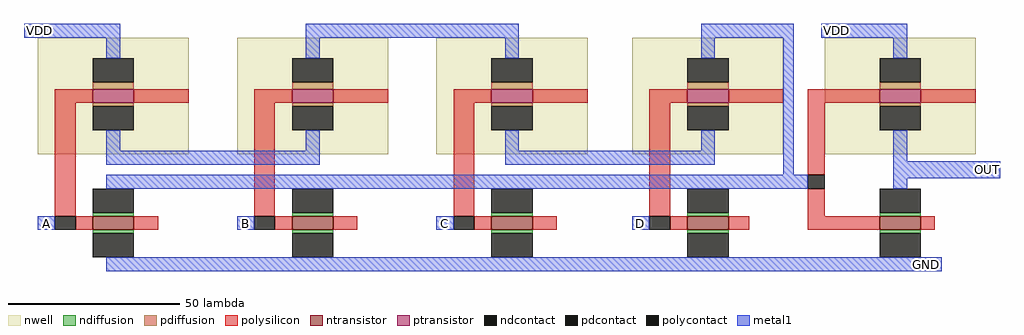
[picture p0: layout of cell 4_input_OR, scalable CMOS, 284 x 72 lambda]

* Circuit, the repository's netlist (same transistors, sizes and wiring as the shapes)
* SPICE3 file created from 4_input_OR.ext - technology: scmos

.option scale=0.09u

M1000 a_14_n20# a_3_n24# a_14_n32# Gnd nfet w=12 l=4
+  ad=384 pd=160 as=480 ps=200
M1001 a_243_n20# a_14_n20# a_14_n32# Gnd nfet w=12 l=4
+  ad=96 pd=40 as=0 ps=0
M1002 a_14_n20# a_176_n24# a_14_n32# Gnd nfet w=12 l=4
+  ad=0 pd=0 as=0 ps=0
M1003 a_14_n20# a_119_n24# a_14_n32# Gnd nfet w=12 l=4
+  ad=0 pd=0 as=0 ps=0
M1004 a_14_17# a_3_n24# a_14_5# w_n2_n2# pfet w=12 l=4
+  ad=216 pd=84 as=192 ps=80
M1005 a_72_17# a_61_n24# a_14_5# w_56_n2# pfet w=12 l=4
+  ad=216 pd=84 as=0 ps=0
M1006 a_14_n20# a_176_n24# a_130_5# w_171_n2# pfet w=12 l=4
+  ad=108 pd=42 as=192 ps=80
M1007 a_14_17# a_14_n20# a_243_n20# w_227_n2# pfet w=12 l=4
+  ad=0 pd=0 as=96 ps=40
M1008 a_14_n20# a_61_n24# a_14_n32# Gnd nfet w=12 l=4
+  ad=0 pd=0 as=0 ps=0
M1009 a_72_17# a_119_n24# a_130_5# w_114_n2# pfet w=12 l=4
+  ad=0 pd=0 as=0 ps=0

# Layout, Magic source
magic
tech scmos
<< nwell >>
rect -2 -2 42 32
rect 56 -2 100 32
rect 114 -2 158 32
rect 171 -2 215 32
rect 227 -2 271 32
<< ntransistor >>
rect 14 -24 26 -20
rect 72 -24 84 -20
rect 130 -24 142 -20
rect 187 -24 199 -20
rect 243 -24 255 -20
<< ptransistor >>
rect 14 13 26 17
rect 72 13 84 17
rect 130 13 142 17
rect 187 13 199 17
rect 243 13 255 17
<< ndiffusion >>
rect 14 -20 26 -19
rect 72 -20 84 -19
rect 130 -20 142 -19
rect 187 -20 199 -19
rect 243 -20 255 -19
rect 14 -25 26 -24
rect 72 -25 84 -24
rect 130 -25 142 -24
rect 187 -25 199 -24
rect 243 -25 255 -24
<< pdiffusion >>
rect 14 17 26 19
rect 72 17 84 19
rect 130 17 142 19
rect 187 17 199 19
rect 243 17 255 19
rect 14 12 26 13
rect 72 12 84 13
rect 130 12 142 13
rect 187 12 199 13
rect 243 12 255 13
<< ndcontact >>
rect 14 -19 26 -12
rect 72 -19 84 -12
rect 130 -19 142 -12
rect 187 -19 199 -12
rect 243 -19 255 -12
rect 14 -32 26 -25
rect 72 -32 84 -25
rect 130 -32 142 -25
rect 187 -32 199 -25
rect 243 -32 255 -25
<< pdcontact >>
rect 14 19 26 26
rect 72 19 84 26
rect 130 19 142 26
rect 187 19 199 26
rect 243 19 255 26
rect 14 5 26 12
rect 72 5 84 12
rect 130 5 142 12
rect 187 5 199 12
rect 243 5 255 12
<< polysilicon >>
rect 3 13 14 17
rect 26 13 42 17
rect 61 13 72 17
rect 84 13 100 17
rect 119 13 130 17
rect 142 13 158 17
rect 176 13 187 17
rect 199 13 215 17
rect 222 13 243 17
rect 255 13 271 17
rect 3 -20 9 13
rect 61 -20 67 13
rect 119 -20 125 13
rect 176 -20 182 13
rect 222 -8 227 13
rect 222 -20 227 -12
rect 9 -24 14 -20
rect 26 -24 33 -20
rect 67 -24 72 -20
rect 84 -24 91 -20
rect 125 -24 130 -20
rect 142 -24 149 -20
rect 182 -24 187 -20
rect 199 -24 205 -20
rect 222 -24 243 -20
rect 255 -24 259 -20
<< polycontact >>
rect 222 -12 227 -8
rect 3 -24 9 -20
rect 61 -24 67 -20
rect 119 -24 125 -20
rect 176 -24 182 -20
<< metal1 >>
rect -6 32 22 36
rect 18 26 22 32
rect 76 32 138 36
rect 76 26 80 32
rect 134 26 138 32
rect 191 32 218 36
rect 226 32 251 36
rect 191 26 195 32
rect 18 -1 22 5
rect 76 -1 80 5
rect 18 -5 80 -1
rect 134 -1 138 5
rect 191 -1 195 5
rect 134 -5 195 -1
rect 215 -8 218 32
rect 247 26 251 32
rect 247 -4 251 5
rect 18 -12 222 -8
rect 247 -9 278 -4
rect 247 -12 251 -9
rect -2 -24 3 -20
rect 56 -24 61 -20
rect 114 -24 119 -20
rect 171 -24 176 -20
rect 18 -36 261 -32
<< labels >>
flabel metal1 252 -36 261 -32 0 FreeSans 9 0 0 0 GND
flabel metal1 271 -9 278 -4 0 FreeSans 9 0 0 0 OUT
flabel metal1 226 32 235 36 0 FreeSans 9 0 0 0 VDD
flabel metal1 -6 32 3 36 0 FreeSans 9 0 0 0 VDD
flabel metal1 -2 -24 3 -20 0 FreeSans 9 0 0 0 A
flabel metal1 56 -24 61 -20 0 FreeSans 9 0 0 0 B
flabel metal1 114 -24 119 -20 0 FreeSans 9 0 0 0 C
flabel metal1 171 -24 176 -20 0 FreeSans 9 0 0 0 D
<< end >>
